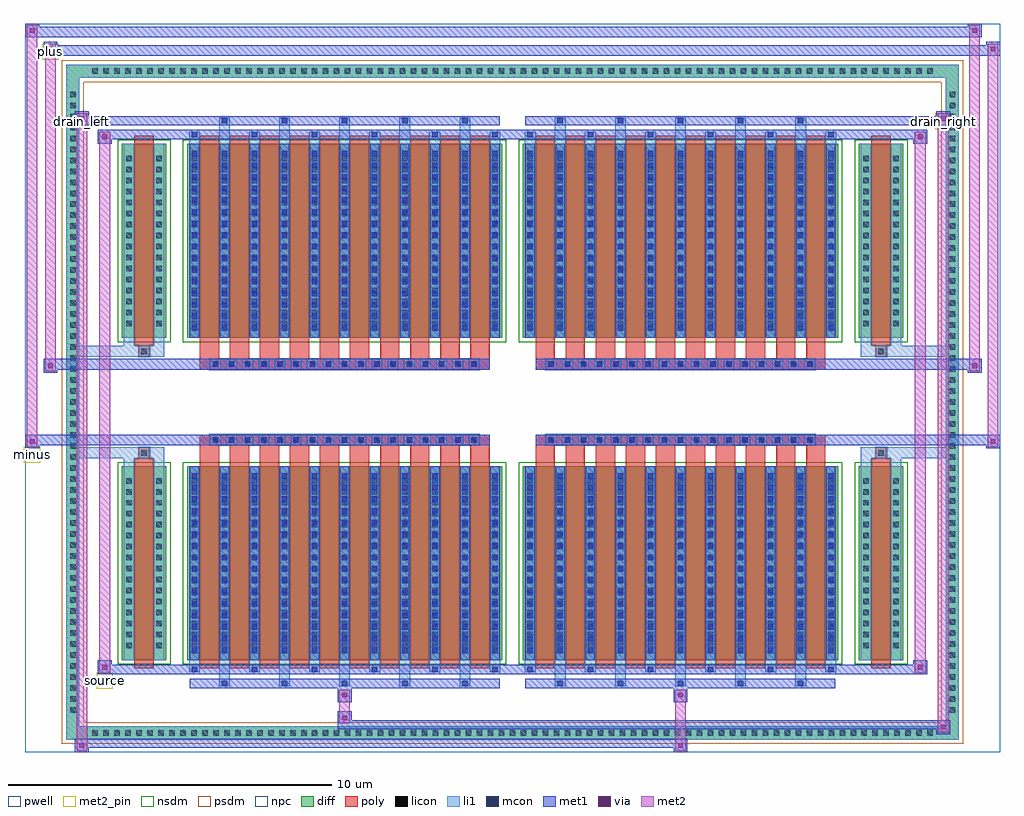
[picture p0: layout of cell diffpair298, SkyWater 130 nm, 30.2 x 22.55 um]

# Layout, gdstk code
import gdstk
lib = gdstk.Library(unit=1e-6, precision=5e-09)
def R(c, l, rs):  # rectangles x0, y0, x1, y1
    for r in rs: c.add(gdstk.rectangle(r[:2], r[2:], *l))
def A(c, l, x, y, w, h, nx, ny, dx, dy):  # array of equal rectangles
    R(c, l, [(x+i*dx, y+j*dy, x+i*dx+w, y+j*dy+h) for i in range(nx) for j in range(ny)])
def P(c, l, *ps):  # polygons
    for p in ps: c.add(gdstk.Polygon(p, *l))
pwell = (64, 44)
diff = (65, 20)
poly = (66, 20)
licon = (66, 44)
li1 = (67, 20)
mcon = (67, 44)
met1 = (68, 20)
via = (68, 44)
met2_pin = (69, 16)
met2 = (69, 20)
nsdm = (93, 44)
psdm = (94, 20)
npc = (95, 20)

diffpair298 = lib.new_cell('diffpair298')
R(diffpair298, pwell, [(-15.08,-10.84,15.08,11.71), (-12.4,-9.03,-0.01,-0.805), (0.01,-9.03,12.4,-0.805), (-12.4,0.805,-0.01,9.03), (0.01,0.805,12.4,9.03)])
A(diffpair298, diff, -13.125, -10.44, 0.41, 0.41, 77, 2, 0.34, 20.47)
A(diffpair298, diff, -13.81, -9.725, 0.41, 0.41, 1, 57, 0, 0.34)
A(diffpair298, diff, 13.4, -9.725, 0.41, 0.41, 1, 57, 0, 0.34)
R(diffpair298, diff, [(-13.125,-10.44,13.125,-10.03), (-13.81,-9.725,-13.4,9.725), (13.4,-9.725,13.81,9.725), (-12.09,-7.985,-10.71,-1.985), (-10.07,-7.985,-0.32,-1.985), (0.32,-7.985,10.07,-1.985), (10.71,-7.985,12.09,-1.985), (-12.09,1.985,-10.71,7.985), (-10.07,1.985,-0.32,7.985), (0.32,1.985,10.07,7.985), (10.71,1.985,12.09,7.985), (-13.125,10.03,13.125,10.44)])
P(diffpair298, diff, [(13.81,10.44),(-13.81,10.44),(-13.81,-10.03),(-13.4,-10.03),(-13.4,10.03),(13.4,10.03),(13.4,-10.03),(-13.4,-10.03),(-13.81,-10.03),(-13.81,-10.44),(13.81,-10.44)])
A(diffpair298, poly, -9.68, -8.235, 0.6, 6.5, 10, 2, 0.93, 9.97)
A(diffpair298, poly, 0.71, -8.235, 0.6, 6.5, 10, 2, 0.93, 9.97)
A(diffpair298, poly, -9.68, -1.735, 0.6, 0.4, 10, 2, 0.93, 3.07)
A(diffpair298, poly, 0.71, -1.735, 0.6, 0.4, 10, 2, 0.93, 3.07)
A(diffpair298, poly, -9.36, -1.335, 0.33, 0.33, 17, 2, 0.5, 2.34)
A(diffpair298, poly, 1.03, -1.335, 0.33, 0.33, 17, 2, 0.5, 2.34)
R(diffpair298, poly, [(-11.7,-8.235,-11.1,-1.735), (11.1,-8.235,11.7,-1.735), (-11.565,-1.735,-11.235,-1.405), (-11.565,-1.735,-11.235,-1.405), (11.235,-1.735,11.565,-1.405), (11.235,-1.735,11.565,-1.405), (-9.68,-1.335,-0.71,-1.005), (0.71,-1.335,9.68,-1.005), (-9.68,1.005,-0.71,1.335), (0.71,1.005,9.68,1.335), (-11.565,1.405,-11.235,1.735), (-11.565,1.405,-11.235,1.735), (11.235,1.405,11.565,1.735), (11.235,1.405,11.565,1.735), (-11.7,1.735,-11.1,8.235), (11.1,1.735,11.7,8.235)])
A(diffpair298, licon, -13.005, -10.32, 0.17, 0.17, 77, 2, 0.34, 20.47)
A(diffpair298, licon, -13.69, -9.605, 0.17, 0.17, 1, 57, 0, 0.34)
A(diffpair298, licon, 13.52, -9.605, 0.17, 0.17, 1, 57, 0, 0.34)
A(diffpair298, licon, -11.95, -7.62, 0.17, 0.17, 1, 16, 0, 0.34)
A(diffpair298, licon, -11.02, -7.62, 0.17, 0.17, 1, 16, 0, 0.34)
A(diffpair298, licon, -9.93, -7.62, 0.17, 0.17, 11, 16, 0.93, 0.34)
A(diffpair298, licon, 0.46, -7.62, 0.17, 0.17, 11, 16, 0.93, 0.34)
A(diffpair298, licon, 10.85, -7.62, 0.17, 0.17, 1, 16, 0, 0.34)
A(diffpair298, licon, 11.78, -7.62, 0.17, 0.17, 1, 16, 0, 0.34)
A(diffpair298, licon, -9.28, -1.255, 0.17, 0.17, 17, 2, 0.5, 2.34)
A(diffpair298, licon, 1.11, -1.255, 0.17, 0.17, 17, 2, 0.5, 2.34)
A(diffpair298, licon, -11.95, 2.35, 0.17, 0.17, 1, 16, 0, 0.34)
A(diffpair298, licon, -11.02, 2.35, 0.17, 0.17, 1, 16, 0, 0.34)
A(diffpair298, licon, -9.93, 2.35, 0.17, 0.17, 11, 16, 0.93, 0.34)
A(diffpair298, licon, 0.46, 2.35, 0.17, 0.17, 11, 16, 0.93, 0.34)
A(diffpair298, licon, 10.85, 2.35, 0.17, 0.17, 1, 16, 0, 0.34)
A(diffpair298, licon, 11.78, 2.35, 0.17, 0.17, 1, 16, 0, 0.34)
R(diffpair298, licon, [(-11.485,-1.655,-11.315,-1.485), (11.315,-1.655,11.485,-1.485), (-11.485,1.485,-11.315,1.655), (11.315,1.485,11.485,1.655)])
A(diffpair298, li1, -13.085, -10.4, 0.33, 0.33, 77, 2, 0.34, 20.47)
A(diffpair298, li1, -13.77, -9.685, 0.33, 0.33, 1, 57, 0, 0.34)
A(diffpair298, li1, 13.44, -9.685, 0.33, 0.33, 1, 57, 0, 0.34)
A(diffpair298, li1, -9.08, -8.79, 0.33, 0.805, 5, 2, 1.86, 16.775)
A(diffpair298, li1, -9, -8.79, 0.17, 0.17, 5, 2, 1.86, 17.41)
A(diffpair298, li1, 1.31, -8.79, 0.33, 0.805, 5, 2, 1.86, 16.775)
A(diffpair298, li1, 1.39, -8.79, 0.17, 0.17, 5, 2, 1.86, 17.41)
A(diffpair298, li1, -10.01, -8.36, 0.33, 0.375, 6, 2, 1.86, 16.345)
A(diffpair298, li1, -9.93, -8.36, 0.17, 0.17, 6, 2, 1.86, 16.55)
A(diffpair298, li1, 0.38, -8.36, 0.33, 0.375, 6, 2, 1.86, 16.345)
A(diffpair298, li1, 0.46, -8.36, 0.17, 0.17, 6, 2, 1.86, 16.55)
A(diffpair298, li1, -10.01, -7.985, 0.33, 6, 11, 2, 0.93, 9.97)
A(diffpair298, li1, 0.38, -7.985, 0.33, 6, 11, 2, 0.93, 9.97)
A(diffpair298, li1, -9.93, -7.77, 0.17, 0.17, 11, 16, 0.93, 0.36)
A(diffpair298, li1, -9.93, -7.77, 0.17, 5.57, 11, 2, 0.93, 9.97)
A(diffpair298, li1, 0.46, -7.77, 0.17, 0.17, 11, 16, 0.93, 0.36)
A(diffpair298, li1, 0.46, -7.77, 0.17, 5.57, 11, 2, 0.93, 9.97)
A(diffpair298, li1, -12.03, -7.7, 0.33, 0.33, 1, 16, 0, 0.34)
A(diffpair298, li1, -11.1, -7.7, 0.33, 0.33, 1, 16, 0, 0.34)
A(diffpair298, li1, -10.01, -7.7, 0.33, 0.33, 11, 16, 0.93, 0.34)
A(diffpair298, li1, 0.38, -7.7, 0.33, 0.33, 11, 16, 0.93, 0.34)
A(diffpair298, li1, 10.77, -7.7, 0.33, 0.33, 1, 16, 0, 0.34)
A(diffpair298, li1, 11.7, -7.7, 0.33, 0.33, 1, 16, 0, 0.34)
A(diffpair298, li1, -9.36, -1.335, 0.33, 0.33, 17, 2, 0.5, 2.34)
A(diffpair298, li1, 1.03, -1.335, 0.33, 0.33, 17, 2, 0.5, 2.34)
A(diffpair298, li1, -9.93, 2.2, 0.17, 0.17, 11, 16, 0.93, 0.36)
A(diffpair298, li1, 0.46, 2.2, 0.17, 0.17, 11, 16, 0.93, 0.36)
A(diffpair298, li1, -12.03, 2.27, 0.33, 0.33, 1, 16, 0, 0.34)
A(diffpair298, li1, -11.1, 2.27, 0.33, 0.33, 1, 16, 0, 0.34)
A(diffpair298, li1, -10.01, 2.27, 0.33, 0.33, 11, 16, 0.93, 0.34)
A(diffpair298, li1, 0.38, 2.27, 0.33, 0.33, 11, 16, 0.93, 0.34)
A(diffpair298, li1, 10.77, 2.27, 0.33, 0.33, 1, 16, 0, 0.34)
A(diffpair298, li1, 11.7, 2.27, 0.33, 0.33, 1, 16, 0, 0.34)
R(diffpair298, li1, [(-13.81,-10.44,-13.4,-10.03), (-13.81,-10.44,-13.4,-10.03), (-13.4,-10.44,13.4,-10.03), (13.4,-10.44,13.81,-10.03), (13.4,-10.44,13.81,-10.03), (-13.81,-10.03,-13.4,10.03), (13.4,-10.03,13.81,10.03), (-12.03,-7.985,-11.7,-1.985), (-11.1,-7.985,-10.77,-1.985), (10.77,-7.985,11.1,-1.985), (11.7,-7.985,12.03,-1.985), (-12.03,-1.985,-11.7,-1.405), (-11.1,-1.985,-10.77,-1.405), (10.77,-1.985,11.1,-1.405), (11.7,-1.985,12.03,-1.405), (-13.81,-1.735,-11.565,-1.405), (-12.03,-1.735,-11.565,-1.405), (-11.565,-1.735,-11.235,-1.405), (-11.235,-1.735,-10.77,-1.405), (10.77,-1.735,11.235,-1.405), (11.235,-1.735,11.565,-1.405), (11.235,-1.735,13.81,-1.405), (11.565,-1.735,12.03,-1.405), (-13.81,1.405,-11.565,1.735), (-12.03,1.405,-11.565,1.735), (-12.03,1.405,-11.7,1.985), (-11.565,1.405,-11.235,1.735), (-11.235,1.405,-10.77,1.735), (-11.1,1.405,-10.77,1.985), (10.77,1.405,11.235,1.735), (10.77,1.405,11.1,1.985), (11.235,1.405,11.565,1.735), (11.235,1.405,13.81,1.735), (11.565,1.405,12.03,1.735), (11.7,1.405,12.03,1.985), (-12.03,1.985,-11.7,7.985), (-11.1,1.985,-10.77,7.985), (10.77,1.985,11.1,7.985), (11.7,1.985,12.03,7.985), (-13.81,10.03,-13.4,10.44), (-13.81,10.03,-13.4,10.44), (-13.4,10.03,13.4,10.44), (13.4,10.03,13.81,10.44), (13.4,10.03,13.81,10.44)])
A(diffpair298, mcon, -9, -8.79, 0.17, 0.17, 5, 2, 1.86, 17.41)
A(diffpair298, mcon, 1.39, -8.79, 0.17, 0.17, 5, 2, 1.86, 17.41)
A(diffpair298, mcon, -9.93, -8.36, 0.17, 0.17, 6, 2, 1.86, 16.55)
A(diffpair298, mcon, 0.46, -8.36, 0.17, 0.17, 6, 2, 1.86, 16.55)
A(diffpair298, mcon, -9.93, -7.77, 0.17, 0.17, 11, 16, 0.93, 0.36)
A(diffpair298, mcon, 0.46, -7.77, 0.17, 0.17, 11, 16, 0.93, 0.36)
A(diffpair298, mcon, -9.28, -1.255, 0.17, 0.17, 17, 2, 0.5, 2.34)
A(diffpair298, mcon, 1.11, -1.255, 0.17, 0.17, 17, 2, 0.5, 2.34)
A(diffpair298, mcon, -9.93, 2.2, 0.17, 0.17, 11, 16, 0.93, 0.36)
A(diffpair298, mcon, 0.46, 2.2, 0.17, 0.17, 11, 16, 0.93, 0.36)
A(diffpair298, met1, -9.06, -8.85, 0.29, 0.29, 5, 2, 1.86, 17.41)
A(diffpair298, met1, 1.33, -8.85, 0.29, 0.29, 5, 2, 1.86, 17.41)
A(diffpair298, met1, -9.99, -8.42, 0.29, 0.29, 6, 2, 1.86, 16.55)
A(diffpair298, met1, 0.4, -8.42, 0.29, 0.29, 6, 2, 1.86, 16.55)
A(diffpair298, met1, -9.99, -7.985, 0.29, 6, 11, 2, 0.93, 9.97)
A(diffpair298, met1, 0.4, -7.985, 0.29, 6, 11, 2, 0.93, 9.97)
A(diffpair298, met1, -9.99, -7.83, 0.29, 0.29, 11, 16, 0.93, 0.36)
A(diffpair298, met1, 0.4, -7.83, 0.29, 0.29, 11, 16, 0.93, 0.36)
A(diffpair298, met1, -9.34, -1.315, 0.29, 0.29, 17, 2, 0.5, 2.34)
A(diffpair298, met1, 1.05, -1.315, 0.29, 0.29, 17, 2, 0.5, 2.34)
A(diffpair298, met1, -9.99, 2.14, 0.29, 0.29, 11, 16, 0.93, 0.36)
A(diffpair298, met1, 0.4, 2.14, 0.29, 0.29, 11, 16, 0.93, 0.36)
R(diffpair298, met1, [(-13.54,-10.84,-13.11,-10.41), (4.98,-10.84,5.41,-10.41), (-13.54,-10.7,5.41,-10.41), (13.11,-10.27,13.54,-9.84), (-5.41,-10.13,13.54,-9.84), (-5.41,-9.99,-4.98,-9.56), (-5.41,-9.28,-4.98,-8.85), (4.98,-9.28,5.41,-8.85), (-9.99,-8.85,-0.4,-8.56), (0.4,-8.85,9.99,-8.56), (-12.83,-8.42,-12.4,-7.99), (-12.83,-8.42,-9.99,-8.13), (-9.99,-8.42,-0.4,-8.13), (-0.4,-8.42,0.4,-8.13), (0.4,-8.42,9.99,-8.13), (9.99,-8.42,12.83,-8.13), (12.4,-8.42,12.83,-7.99), (-15.08,-1.435,-14.65,-1.005), (14.65,-1.435,15.08,-1.005), (-15.08,-1.335,-0.71,-1.005), (-9.68,-1.335,-0.71,-1.005), (0.71,-1.335,9.68,-1.005), (0.71,-1.335,15.08,-1.005), (-14.51,0.905,-14.08,1.335), (14.08,0.905,14.51,1.335), (-14.51,1.005,-9.68,1.335), (-9.68,1.005,-0.71,1.335), (0.71,1.005,9.68,1.335), (9.68,1.005,14.51,1.335), (-12.83,7.99,-12.4,8.42), (12.4,7.99,12.83,8.42), (-12.83,8.13,-9.99,8.42), (-9.99,8.13,-0.4,8.42), (-0.4,8.13,0.4,8.42), (0.4,8.13,9.99,8.42), (9.99,8.13,12.83,8.42), (-13.54,8.56,-13.11,8.99), (-13.54,8.56,-9.99,8.85), (-9.99,8.56,-0.4,8.85), (0.4,8.56,9.99,8.85), (9.99,8.56,13.54,8.85), (13.11,8.56,13.54,8.99), (-14.51,10.71,-14.08,11.14), (-14.51,10.71,-12.4,11.04), (-12.4,10.71,12.4,11.04), (12.4,10.71,15.08,11.04), (14.65,10.71,15.08,11.14), (-15.08,11.28,-14.65,11.71), (-15.08,11.28,-12.4,11.61), (-12.4,11.28,12.4,11.61), (12.4,11.28,14.51,11.61), (14.08,11.28,14.51,11.71)])
R(diffpair298, via, [(-13.4,-10.7,-13.25,-10.55), (5.12,-10.7,5.27,-10.55), (13.25,-10.13,13.4,-9.98), (-5.27,-9.85,-5.12,-9.7), (-5.27,-9.14,-5.12,-8.99), (5.12,-9.14,5.27,-8.99), (-12.69,-8.28,-12.54,-8.13), (12.54,-8.28,12.69,-8.13), (-14.94,-1.295,-14.79,-1.145), (14.79,-1.295,14.94,-1.145), (-14.37,1.045,-14.22,1.195), (14.22,1.045,14.37,1.195), (-12.69,8.13,-12.54,8.28), (12.54,8.13,12.69,8.28), (-13.4,8.7,-13.25,8.85), (13.25,8.7,13.4,8.85), (-14.37,10.85,-14.22,11), (14.79,10.85,14.94,11), (-14.94,11.42,-14.79,11.57), (14.22,11.42,14.37,11.57)])
R(diffpair298, met2_pin, [(-12.865,-8.87,-12.365,-8.37), (-15.115,-1.885,-14.615,-1.385), (-13.575,8.44,-13.075,8.94), (13.075,8.44,13.575,8.94), (-14.545,10.59,-14.045,11.09)])
R(diffpair298, met2, [(-13.49,-10.79,-13.16,-10.46), (-13.49,-10.79,-13.16,8.94), (5.03,-10.79,5.36,-10.46), (5.03,-10.46,5.36,-9.23), (13.16,-10.22,13.49,-9.89), (13.16,-10.22,13.49,8.94), (-5.36,-9.94,-5.03,-9.61), (-5.36,-9.61,-5.03,-9.23), (-5.36,-9.23,-5.03,-8.9), (5.03,-9.23,5.36,-8.9), (-12.78,-8.37,-12.45,-8.04), (-12.78,-8.37,-12.45,8.37), (12.45,-8.37,12.78,-8.04), (12.45,-8.37,12.78,8.37), (-15.03,-1.385,-14.7,-1.055), (-15.03,-1.385,-14.7,11.66), (14.7,-1.385,15.03,-1.055), (14.7,-1.385,15.03,11.09), (-14.46,0.955,-14.13,1.285), (-14.46,0.955,-14.13,11.09), (14.13,0.955,14.46,1.285), (14.13,0.955,14.46,11.66), (-12.78,8.04,-12.45,8.37), (12.45,8.04,12.78,8.37), (-13.49,8.61,-13.16,8.94), (13.16,8.61,13.49,8.94), (-14.46,10.76,-14.13,11.09), (14.7,10.76,15.03,11.09), (-15.03,11.33,-14.7,11.66), (14.13,11.33,14.46,11.66)])
P(diffpair298, met2, [(15.03,-1.385),(15.03,-1.385),(15.03,-1.055),(15.03,-1.055)],
  [(15.03,10.76),(15.03,10.76),(15.03,11.09),(15.03,11.09)],
  [(-14.7,-1.385),(-14.7,-1.385),(-14.7,-1.055),(-14.7,-1.055)],
  [(-14.7,11.33),(-14.7,11.33),(-14.7,11.66),(-14.7,11.66)],
  [(14.46,0.955),(14.46,0.955),(14.46,1.285),(14.46,1.285)],
  [(14.46,11.33),(14.46,11.33),(14.46,11.66),(14.46,11.66)],
  [(-14.13,0.955),(-14.13,0.955),(-14.13,1.285),(-14.13,1.285)],
  [(-14.13,10.76),(-14.13,10.76),(-14.13,11.09),(-14.13,11.09)],
  [(-13.16,-10.79),(-13.16,-10.79),(-13.16,-10.46),(-13.16,-10.46)],
  [(-13.16,8.61),(-13.16,8.61),(-13.16,8.94),(-13.16,8.94)],
  [(13.49,-10.22),(13.49,-10.22),(13.49,-9.89),(13.49,-9.89)],
  [(13.49,8.61),(13.49,8.61),(13.49,8.94),(13.49,8.94)],
  [(-12.45,-8.37),(-12.45,-8.37),(-12.45,-8.04),(-12.45,-8.04)],
  [(-12.45,8.04),(-12.45,8.04),(-12.45,8.37),(-12.45,8.37)],
  [(12.78,-8.37),(12.78,-8.37),(12.78,-8.04),(12.78,-8.04)],
  [(12.78,8.04),(12.78,8.04),(12.78,8.37),(12.78,8.37)])
R(diffpair298, nsdm, [(-12.22,-8.115,-10.58,-1.855), (-10.2,-8.115,-0.19,-1.855), (0.19,-8.115,10.2,-1.855), (10.58,-8.115,12.22,-1.855), (-12.22,1.855,-10.58,8.115), (-10.2,1.855,-0.19,8.115), (0.19,1.855,10.2,8.115), (10.58,1.855,12.22,8.115)])
P(diffpair298, psdm, [(13.94,10.57),(-13.94,10.57),(-13.94,-9.9),(-13.27,-9.9),(-13.27,9.9),(13.27,9.9),(13.27,-9.9),(-13.27,-9.9),(-13.94,-9.9),(-13.94,-10.57),(13.94,-10.57)])
A(diffpair298, npc, -9.38, -1.355, 0.37, 0.37, 17, 2, 0.5, 2.34)
A(diffpair298, npc, 1.01, -1.355, 0.37, 0.37, 17, 2, 0.5, 2.34)
R(diffpair298, npc, [(-11.585,-1.755,-11.215,-1.385), (11.215,-1.755,11.585,-1.385), (-9.38,-1.355,-8.51,-0.985), (-9.38,-1.355,-8.51,-0.985), (-8.88,-1.355,-8.01,-0.985), (-8.88,-1.355,-8.01,-0.985), (-8.38,-1.355,-7.51,-0.985), (-8.38,-1.355,-7.51,-0.985), (-7.88,-1.355,-7.01,-0.985), (-7.88,-1.355,-7.01,-0.985), (-7.38,-1.355,-6.51,-0.985), (-7.38,-1.355,-6.51,-0.985), (-6.88,-1.355,-6.01,-0.985), (-6.88,-1.355,-6.01,-0.985), (-6.38,-1.355,-5.51,-0.985), (-6.38,-1.355,-5.51,-0.985), (-5.88,-1.355,-5.01,-0.985), (-5.88,-1.355,-5.01,-0.985), (-5.38,-1.355,-4.51,-0.985), (-5.38,-1.355,-4.51,-0.985), (-4.88,-1.355,-4.01,-0.985), (-4.88,-1.355,-4.01,-0.985), (-4.38,-1.355,-3.51,-0.985), (-4.38,-1.355,-3.51,-0.985), (-3.88,-1.355,-3.01,-0.985), (-3.88,-1.355,-3.01,-0.985), (-3.38,-1.355,-2.51,-0.985), (-3.38,-1.355,-2.51,-0.985), (-2.88,-1.355,-2.01,-0.985), (-2.88,-1.355,-2.01,-0.985), (-2.38,-1.355,-1.51,-0.985), (-2.38,-1.355,-1.51,-0.985), (-1.88,-1.355,-1.01,-0.985), (-1.88,-1.355,-1.01,-0.985), (1.01,-1.355,1.88,-0.985), (1.01,-1.355,1.88,-0.985), (1.51,-1.355,2.38,-0.985), (1.51,-1.355,2.38,-0.985), (2.01,-1.355,2.88,-0.985), (2.01,-1.355,2.88,-0.985), (2.51,-1.355,3.38,-0.985), (2.51,-1.355,3.38,-0.985), (3.01,-1.355,3.88,-0.985), (3.01,-1.355,3.88,-0.985), (3.51,-1.355,4.38,-0.985), (3.51,-1.355,4.38,-0.985), (4.01,-1.355,4.88,-0.985), (4.01,-1.355,4.88,-0.985), (4.51,-1.355,5.38,-0.985), (4.51,-1.355,5.38,-0.985), (5.01,-1.355,5.88,-0.985), (5.01,-1.355,5.88,-0.985), (5.51,-1.355,6.38,-0.985), (5.51,-1.355,6.38,-0.985), (6.01,-1.355,6.88,-0.985), (6.01,-1.355,6.88,-0.985), (6.51,-1.355,7.38,-0.985), (6.51,-1.355,7.38,-0.985), (7.01,-1.355,7.88,-0.985), (7.01,-1.355,7.88,-0.985), (7.51,-1.355,8.38,-0.985), (7.51,-1.355,8.38,-0.985), (8.01,-1.355,8.88,-0.985), (8.01,-1.355,8.88,-0.985), (8.51,-1.355,9.38,-0.985), (8.51,-1.355,9.38,-0.985), (-9.38,0.985,-8.51,1.355), (-9.38,0.985,-8.51,1.355), (-8.88,0.985,-8.01,1.355), (-8.88,0.985,-8.01,1.355), (-8.38,0.985,-7.51,1.355), (-8.38,0.985,-7.51,1.355), (-7.88,0.985,-7.01,1.355), (-7.88,0.985,-7.01,1.355), (-7.38,0.985,-6.51,1.355), (-7.38,0.985,-6.51,1.355), (-6.88,0.985,-6.01,1.355), (-6.88,0.985,-6.01,1.355), (-6.38,0.985,-5.51,1.355), (-6.38,0.985,-5.51,1.355), (-5.88,0.985,-5.01,1.355), (-5.88,0.985,-5.01,1.355), (-5.38,0.985,-4.51,1.355), (-5.38,0.985,-4.51,1.355), (-4.88,0.985,-4.01,1.355), (-4.88,0.985,-4.01,1.355), (-4.38,0.985,-3.51,1.355), (-4.38,0.985,-3.51,1.355), (-3.88,0.985,-3.01,1.355), (-3.88,0.985,-3.01,1.355), (-3.38,0.985,-2.51,1.355), (-3.38,0.985,-2.51,1.355), (-2.88,0.985,-2.01,1.355), (-2.88,0.985,-2.01,1.355), (-2.38,0.985,-1.51,1.355), (-2.38,0.985,-1.51,1.355), (-1.88,0.985,-1.01,1.355), (-1.88,0.985,-1.01,1.355), (1.01,0.985,1.88,1.355), (1.01,0.985,1.88,1.355), (1.51,0.985,2.38,1.355), (1.51,0.985,2.38,1.355), (2.01,0.985,2.88,1.355), (2.01,0.985,2.88,1.355), (2.51,0.985,3.38,1.355), (2.51,0.985,3.38,1.355), (3.01,0.985,3.88,1.355), (3.01,0.985,3.88,1.355), (3.51,0.985,4.38,1.355), (3.51,0.985,4.38,1.355), (4.01,0.985,4.88,1.355), (4.01,0.985,4.88,1.355), (4.51,0.985,5.38,1.355), (4.51,0.985,5.38,1.355), (5.01,0.985,5.88,1.355), (5.01,0.985,5.88,1.355), (5.51,0.985,6.38,1.355), (5.51,0.985,6.38,1.355), (6.01,0.985,6.88,1.355), (6.01,0.985,6.88,1.355), (6.51,0.985,7.38,1.355), (6.51,0.985,7.38,1.355), (7.01,0.985,7.88,1.355), (7.01,0.985,7.88,1.355), (7.51,0.985,8.38,1.355), (7.51,0.985,8.38,1.355), (8.01,0.985,8.88,1.355), (8.01,0.985,8.88,1.355), (8.51,0.985,9.38,1.355), (8.51,0.985,9.38,1.355), (-11.585,1.385,-11.215,1.755), (11.215,1.385,11.585,1.755)])
diffpair298.add(gdstk.Label('minus', (-14.865,-1.635), layer=69, texttype=5))
diffpair298.add(gdstk.Label('drain_right', (13.325,8.69), layer=69, texttype=5))
diffpair298.add(gdstk.Label('drain_left', (-13.325,8.69), layer=69, texttype=5))
diffpair298.add(gdstk.Label('source', (-12.615,-8.62), layer=69, texttype=5))
diffpair298.add(gdstk.Label('plus', (-14.295,10.84), layer=69, texttype=5))

lib.write_gds('diffpair298.gds')
